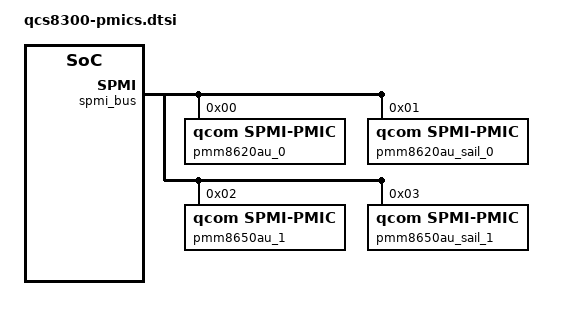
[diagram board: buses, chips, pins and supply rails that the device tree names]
// SPDX-License-Identifier: BSD-3-Clause
/*
 * Copyright (c) 2024 Qualcomm Innovation Center, Inc. All rights reserved.
 */

#include <dt-bindings/iio/qcom,spmi-adc5-gen3-pm8775.h>
#include <dt-bindings/input/input.h>
#include <dt-bindings/spmi/spmi.h>

/ {
	thermal-zones {
		pmm8620au_0_mbg_tz {
			polling-delay-passive = <100>;
			polling-delay = <0>;
			thermal-sensors = <&pmm8620au_sail_0_tz>;

			trips {
				trip0 {
					temperature = <115000>;
					hysteresis = <5000>;
					type = "passive";
				};

				trip1 {
					temperature = <135000>;
					hysteresis = <5000>;
					type = "passive";
				};
			};
		};

		pmm8620au-0-therm {
			polling-delay-passive = <100>;
			polling-delay = <0>;
			thermal-sensors = <&pmm8620au_0_temp_alarm>;

			trips {
				trip0 {
					temperature = <105000>;
					hysteresis = <0>;
					type = "passive";
				};

				trip1 {
					temperature = <125000>;
					hysteresis = <0>;
					type = "critical";
				};
			};
		};

		pmm8620au_0_sail_xo {
			polling-delay-passive = <0>;
			polling-delay = <0>;
			thermal-sensors = <&pmm8620au_0_adc PM8775_1_ADC5_GEN3_AMUX6_THM_100K_PU>;
			trips {
				trip0 {
					temperature = <125000>;
					hysteresis = <1000>;
					type = "passive";
				};

				trip1 {
					temperature = <125000>;
					hysteresis = <1000>;
					type = "passive";
				};
			};
		};

		pmm8620au_0_ufs0 {
			polling-delay-passive = <0>;
			polling-delay = <0>;
			thermal-sensors = <&pmm8620au_0_adc PM8775_1_ADC5_GEN3_AMUX5_THM_100K_PU>;
			trips {
				trip0 {
					temperature = <125000>;
					hysteresis = <1000>;
					type = "passive";
				};

				trip1 {
					temperature = <125000>;
					hysteresis = <1000>;
					type = "passive";
				};
			};
		};

		pmm8620au_0_xo {
			polling-delay-passive = <0>;
			polling-delay = <0>;
			thermal-sensors = <&pmm8620au_0_adc PM8775_1_ADC5_GEN3_AMUX1_THM_100K_PU>;
			trips {
				trip0 {
					temperature = <125000>;
					hysteresis = <1000>;
					type = "passive";
				};

				trip1 {
					temperature = <125000>;
					hysteresis = <1000>;
					type = "passive";
				};
			};
		};

		pmm8650au_1_mbg_tz {
			polling-delay-passive = <100>;
			polling-delay = <0>;
			thermal-sensors = <&pmm8620au_sail_1_tz>;

			trips {
				trip0 {
					temperature = <115000>;
					hysteresis = <5000>;
					type = "passive";
				};

				trip1 {
					temperature = <135000>;
					hysteresis = <5000>;
					type = "passive";
				};
			};
		};

		pmm8650au-1-therm {
			polling-delay-passive = <100>;
			polling-delay = <0>;
			thermal-sensors = <&pmm8650au_1_temp_alarm>;

			trips {
				trip0 {
					temperature = <105000>;
					hysteresis = <0>;
					type = "passive";
				};

				trip1 {
					temperature = <125000>;
					hysteresis = <0>;
					type = "critical";
				};
			};
		};

		pmm8650au_1_sdram {
			polling-delay-passive = <0>;
			polling-delay = <0>;
			thermal-sensors = <&pmm8650au_1_adc PM8775_2_ADC5_GEN3_AMUX6_THM_100K_PU>;
			trips {
				trip0 {
					temperature = <125000>;
					hysteresis = <1000>;
					type = "passive";
				};

				trip1 {
					temperature = <125000>;
					hysteresis = <1000>;
					type = "passive";
				};
			};
		};
	};
};

&spmi_bus {
	pmm8620au_0: pmic@0 {
		compatible = "qcom,spmi-pmic";
		reg = <0x0 SPMI_USID>;
		#address-cells = <1>;
		#size-cells = <0>;

		pmm8620au_0_adc: vadc@8000 {
			compatible = "qcom,spmi-adc5-gen3";
			reg = <0x8000>;
			reg-names = "adc5-gen3-base";
			#address-cells = <1>;
			#size-cells = <0>;
			interrupts-extended = <&spmi_bus 0x0 0x80 0x1 IRQ_TYPE_EDGE_RISING>;
			interrupt-names = "adc-sdam0";
			#io-channel-cells = <1>;
			#thermal-sensor-cells = <1>;

			pmm8620au_0_ref_gnd {
				reg = <PM8775_1_ADC5_GEN3_OFFSET_REF>;
				label = "pmm8620au_0_ref_gnd";
				qcom,pre-scaling = <1 1>;
			};

			pmm8620au_0_vref_1p25 {
				reg = <PM8775_1_ADC5_GEN3_1P25VREF>;
				label = "pmm8620au_0_vref_1p25";
				qcom,pre-scaling = <1 1>;
			};

			pmm8620au_0_die_temp {
				reg = <PM8775_1_ADC5_GEN3_DIE_TEMP>;
				label = "pmm8620au_0_die_temp";
				qcom,pre-scaling = <1 1>;
			};

			pmm8620au_0_vph_pwr {
				reg = <PM8775_1_ADC5_GEN3_VPH_PWR>;
				label = "pmm8620au_0_vph_pwr";
				qcom,pre-scaling = <1 3>;
			};

			pmm8620au_0_sail_xo_therm {
				reg = <PM8775_1_ADC5_GEN3_AMUX6_THM_100K_PU>;
				label = "pmm8620au_0_sail_xo_therm";
				qcom,ratiometric;
				qcom,hw-settle-time = <200>;
				qcom,adc-tm;
				qcom,pre-scaling = <1 1>;
			};

			pmm8620au_0_ufs0_therm {
				reg = <PM8775_1_ADC5_GEN3_AMUX5_THM_100K_PU>;
				label = "pmm8620au_0_ufs0_therm";
				qcom,ratiometric;
				qcom,hw-settle-time = <200>;
				qcom,adc-tm;
				qcom,pre-scaling = <1 1>;
			};

			pmm8620au_0_xo_therm {
				reg = <PM8775_1_ADC5_GEN3_AMUX1_THM_100K_PU>;
				label = "pmm8620au_0_xo_therm";
				qcom,ratiometric;
				qcom,hw-settle-time = <700>;
				qcom,adc-tm;
				qcom,pre-scaling = <1 1>;
			};
		};

		pmm8620au_0_temp_alarm: temp-alarm@a00 {
			compatible = "qcom,spmi-temp-alarm";
			reg = <0xa00>;
			interrupts-extended = <&spmi_bus 0x0 0xa 0x0 IRQ_TYPE_EDGE_BOTH>;
			io-channels = <&pmm8620au_0_adc PM8775_1_ADC5_GEN3_DIE_TEMP>;
			io-channel-names = "thermal";
			#thermal-sensor-cells = <0>;
		};

		pmm8620au_0_pon: pon@1200 {
			compatible = "qcom,pmk8350-pon";
			reg = <0x1200>, <0x800>;
			reg-names = "hlos", "pbs";

			pmm8620au_0_pon_pwrkey: pwrkey {
				compatible = "qcom,pmk8350-pwrkey";
				interrupts-extended = <&spmi_bus 0x0 0x12 0x7 IRQ_TYPE_EDGE_BOTH>;
				linux,code = <KEY_POWER>;
				debounce = <15625>;
			};

			pmm8620au_0_pon_resin: resin {
				compatible = "qcom,pmk8350-resin";
				interrupts-extended = <&spmi_bus 0x0 0x12 0x6 IRQ_TYPE_EDGE_BOTH>;
				debounce = <15625>;
				linux,code = <KEY_VOLUMEDOWN>;
			};
		};

		pmm8620au_0_rtc: rtc@6100 {
			compatible = "qcom,pmk8350-rtc";
			reg = <0x6100>, <0x6200>;
			reg-names = "rtc", "alarm";
			interrupts = <0x0 0x62 0x1 IRQ_TYPE_EDGE_RISING>;
			allow-set-time;
		};

		pmm8620au_0_sdam_0: nvram@7100 {
			compatible = "qcom,spmi-sdam";
			reg = <0x7100>;
			#address-cells = <1>;
			#size-cells = <1>;
			ranges = <0 0x7100 0x100>;

			reboot_reason: reboot-reason@48 {
				reg = <0x48 0x1>;
				bits = <1 7>;
			};
		};

		pmm8620au_0_gpios: gpio@8800 {
			compatible = "qcom,pmm8654au-gpio";
			reg = <0x8800>;
			gpio-controller;
			gpio-ranges = <&pmm8620au_0_gpios 0 0 12>;
			#gpio-cells = <2>;
			interrupt-controller;
			#interrupt-cells = <2>;
		};
	};

	pmm8620au_sail_0: pmic@1 {
		compatible = "qcom,spmi-pmic";
		reg = <1 SPMI_USID>;
		#address-cells = <1>;
		#size-cells = <0>;

		pmm8620au_sail_0_tz: qcom,mbg-tm@d700 {
			compatible = "qcom,spmi-mgb-tm";
			reg = <0xd700>;
			io-channels = <&pmm8620au_0_adc PM8775_1_ADC5_GEN3_DIE_TEMP>;
			io-channel-names = "thermal";
			interrupts-extended = <&spmi_bus 0x1 0xd7 0x0 IRQ_TYPE_EDGE_RISING>;
			#thermal-sensor-cells = <0>;
		};
	};

	pmm8650au_1: pmic@2 {
		compatible = "qcom,spmi-pmic";
		reg = <0x2 SPMI_USID>;
		#address-cells = <1>;
		#size-cells = <0>;

		pmm8650au_1_adc: vadc@8000 {
			compatible = "qcom,spmi-adc5-gen3";
			reg = <0x8000>;
			reg-names = "adc5-gen3-base";
			#address-cells = <1>;
			#size-cells = <0>;
			interrupts-extended = <&spmi_bus 0x2 0x80 0x1 IRQ_TYPE_EDGE_RISING>;
			interrupt-names = "adc-sdam0";
			#io-channel-cells = <1>;
			#thermal-sensor-cells = <1>;

			pmm8650au_1_ref_gnd {
				reg = <PM8775_2_ADC5_GEN3_OFFSET_REF>;
				label = "pmm8650au_1_ref_gnd";
				qcom,pre-scaling = <1 1>;
			};

			pmm8650au_1_vref_1p25 {
				reg = <PM8775_2_ADC5_GEN3_1P25VREF>;
				label = "pmm8650au_1_vref_1p25";
				qcom,pre-scaling = <1 1>;
			};

			pmm8650au_1_die_temp {
				reg = <PM8775_2_ADC5_GEN3_DIE_TEMP>;
				label = "pmm8650au_1_die_temp";
				qcom,pre-scaling = <1 1>;
			};

			pmm8650au_1_vph_pwr {
				reg = <PM8775_2_ADC5_GEN3_VPH_PWR>;
				label = "pmm8650au_1_vph_pwr";
				qcom,pre-scaling = <1 3>;
			};

			pmm8650au_1_sdram_therm {
				reg = <PM8775_2_ADC5_GEN3_AMUX6_THM_100K_PU>;
				label = "pmm8650au_1_sdram_therm";
				qcom,ratiometric;
				qcom,hw-settle-time = <200>;
				qcom,adc-tm;
				qcom,pre-scaling = <1 1>;
			};
		};

		pmm8650au_1_temp_alarm: temp-alarm@a00 {
			compatible = "qcom,spmi-temp-alarm";
			reg = <0xa00>;
			interrupts-extended = <&spmi_bus 0x2 0xa 0x0 IRQ_TYPE_EDGE_BOTH>;
			io-channels = <&pmm8650au_1_adc PM8775_2_ADC5_GEN3_DIE_TEMP>;
			io-channel-names = "thermal";
			#thermal-sensor-cells = <0>;
		};

		pmm8650au_1_gpios: gpio@8800 {
			compatible = "qcom,pmm8654au-gpio";
			reg = <0x8800>;
			gpio-controller;
			gpio-ranges = <&pmm8650au_1_gpios 0 0 12>;
			#gpio-cells = <2>;
			interrupt-controller;
			#interrupt-cells = <2>;
		};
	};

	pmm8650au_sail_1: pmic@3 {
		compatible = "qcom,spmi-pmic";
		reg = <3 SPMI_USID>;
		#address-cells = <1>;
		#size-cells = <0>;

		pmm8620au_sail_1_tz: qcom,mbg-tm@d700 {
			compatible = "qcom,spmi-mgb-tm";
			reg = <0xd700>;
			io-channels = <&pmm8650au_1_adc PM8775_2_ADC5_GEN3_DIE_TEMP>;
			io-channel-names = "thermal";
			interrupts-extended = <&spmi_bus 0x3 0xd7 0x0 IRQ_TYPE_EDGE_RISING>;
			#thermal-sensor-cells = <0>;
		};
	};
};
